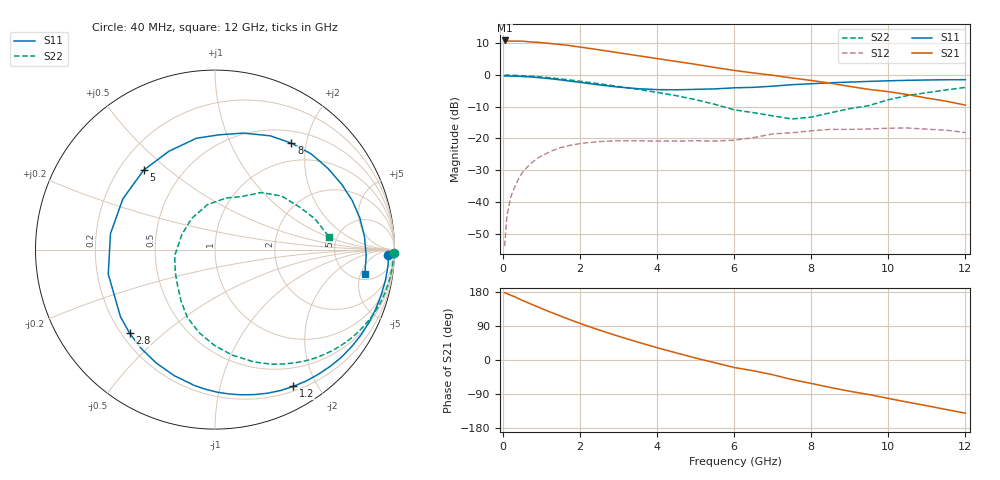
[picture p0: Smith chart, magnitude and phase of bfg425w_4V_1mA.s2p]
! Filename: 41bfg425.001
! BFG425W Field C1
! V1=7.837E-001V,V2=4.000E+000V, I1=8.591E-006A, I2=1.000E-003A
# GHz  S  MA  R 50
!  S11  S21  S12  S22
!Freq(GHz)  Mag  Ang  Mag  Ang  Mag  Ang  Mag  Ang
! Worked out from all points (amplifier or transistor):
!   44 points, 40 MHz to 12 GHz, reference 50 ohm
!   highest |S21| = 10.9 dB at 40 MHz (marker M1)
!   |S21| within 3 dB of that: start of sweep to 2.517 GHz
!   unconditionally stable (mu >= 1): 3.429 GHz to end of sweep
!   at 700 MHz: K = 0.13, MSG = 19.3 dB, |S12| = -28.2 dB
!   at 2.4 GHz: K = 0.55, MSG = 14.6 dB, |S12| = -21.1 dB
!   at 12 GHz: K = 2.23, MAG = -1.9 dB, |S12| = -18.1 dB
!   S11 on the Smith chart (normalised r, x): 40 MHz: 35, -29; 1.2 GHz: 0.25, -1.70; 2.8 GHz: 0.23, -0.39; 5 GHz: 0.30, +0.41; 8 GHz: 0.69, +1.74; 12 GHz: 6.13, -5.95
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0.04  0.967 -1.6  3.513 177.6  0.002 70.9  0.995 -1.1
0.1  0.968 -5.1  3.444 175.3  0.006 83.8  0.995 -2.8
0.2  0.965 -10.2  3.433 170.8  0.012 80.9  0.992 -5.7
0.4  0.955 -20.3  3.432 162.0  0.023 74.6  0.984 -11.3
0.6  0.942 -30.4  3.38 152.9  0.034 68.2  0.971 -16.8
0.8  0.925 -40.4  3.306 144.5  0.044 61.3  0.953 -22.2
1.2  0.878 -60.2  3.156 127.6  0.061 48.6  0.908 -32.5
1.5  0.837 -74.8  3.023 115.6  0.072 39.6  0.868 -39.8
1.7  0.808 -84.5  2.932 107.8  0.077 34.1  0.84 -44.4
2.2  0.738 -107.9  2.654 89.4  0.086 21.5  0.769 -55.2
2.8  0.666 -135.6  2.342 69.0  0.091 9.3  0.686 -67.3
3.5  0.61 -167.1  2.022 47.2  0.092 -1.2  0.595 -80.8
4  0.589 171.3  1.818 32.4  0.091 -6.7  0.533 -90.5
4.5  0.586 151.1  1.638 18.7  0.091 -10.4  0.472 -100.6
5  0.595 132.0  1.475 5.2  0.092 -14.9  0.409 -112.1
6  0.629 99.5  1.183 -19.8  0.094 -21.7  0.283 -138.2
6.5  0.64 88.0  1.079 -28.5  0.103 -15.2  0.255 -150.3
7.5  0.705 64.0  0.899 -51.6  0.123 -30.8  0.203 155.1
8  0.73 54.3  0.821 -61.8  0.132 -36.6  0.217 126.7
8.5  0.756 44.8  0.744 -72.6  0.139 -45.5  0.254 99.5
10.5  0.826 12.3  0.492 -111.3  0.146 -80.1  0.476 38.9
12  0.846 -9.4  0.336 -140.4  0.124 -112.5  0.638 6.5
